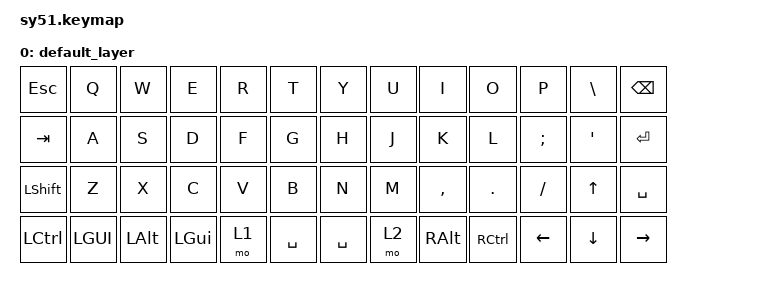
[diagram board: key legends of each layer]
#include <behaviors.dtsi>
#include <dt-bindings/zmk/keys.h>

/ {
    keymap {
        compatible = "zmk,keymap";

        default_layer {
// -----------------------------------------------------------------------------------------------------------------------------------
// |   ESC   |    Q    |    W    |    E    |    R    |    T    |    Y    |    U    |    I    |    O    |    P    |    \    |  BSPC   |
// |   TAB   |    A    |    S    |    D    |    F    |    G    |    H    |    J    |    K    |    L    |    ;    |    '    | RETURN  |
// |  SHIFT  |    Z    |    X    |    C    |    V    |    B    |    N    |    M    |    ,    |    .    |    /    |   UP    |         |
//                               |   GUI   |   DEL   | RETURN  |   TAB   |   BSPC  |  R ALT  |         |  LEFT   |  DOWN   |  RIGHT  |
            bindings = <
    &kp ESC    &kp Q    &kp W    &kp E     &kp R     &kp T      &kp Y     &kp U     &kp I     &kp O     &kp P     &kp BSLH  &kp BSPC
    &kp TAB    &kp A    &kp S    &kp D     &kp F     &kp G      &kp H     &kp J     &kp K     &kp L     &kp SEMI  &kp SQT   &kp RET
    &kp LSHIFT &kp Z    &kp X    &kp C     &kp V     &kp B      &kp N     &kp M     &kp COMMA &kp DOT   &kp FSLH  &kp UP    &kp SPACE
    &kp LCTRL  &LGUI    &kp LALT &kp LGUI  &mo 1     &kp SPACE  &kp SPACE &mo 2     &kp RALT  &kp RCTRL &kp LEFT  &kp DOWN  &kp RIGHT
            >;

        raise_layer {
// -----------------------------------------------------------------------------------------------------------------------------------
// |   ESC   |    1    |    2    |    3    |    4    |    5    |    6    |    7    |    8    |    9    |    0    |    -    |    +    |
// |   TAB   |   F1    |   F2    |   F3    |   F4    |   F5    |   F6    |   F7    |   F8    |   F9    |   F10   |   F11   |   F12   |
// |  SHIFT  |         |         |         |         |         |         |         |         |         |         |         |         |
//                               |   GUI   |   DEL   | RETURN  |   TAB   |   BSPC  |  R ALT  |         |  LEFT   |  DOWN   |  RIGHT  |
            bindings = <
    &kp ESC    &kp Q    &kp W    &kp E     &kp R     &kp T      &kp Y     &kp U     &kp I     &kp O     &kp P     &kp BSLH  &kp BSPC
    &kp TAB    &kp A    &kp S    &kp D     &kp F     &kp G      &kp H     &kp J     &kp K     &kp L     &kp SEMI  &kp SQT   &kp RET
    &kp LSHIFT &kp Z    &kp X    &kp C     &kp V     &kp B      &kp N     &kp M     &kp COMMA &kp DOT   &kp FSLH  &kp UP    &kp SPACE
    &kp LCTRL  &LGUI    &kp LALT &kp LGUI  &mo 1     &kp SPACE  &kp SPACE &mo 2     &kp RALT  &kp RCTRL &kp LEFT  &kp DOWN  &kp RIGHT
            >;

        lower_layer {
// -----------------------------------------------------------------------------------------------------------------------------------
// |   ESC   |    Q    |    W    |    E    |    R    |    T    |    Y    |    U    |    I    |    O    |    P    |    \    |  BSPC   |
// |   TAB   |    A    |    S    |    D    |    F    |    G    |    H    |    J    |    K    |    L    |    ;    |    '    | RETURN  |
// |  SHIFT  |    Z    |    X    |    C    |    V    |    B    |    N    |    M    |    ,    |    .    |    /    |   UP    |         |
//                               |   GUI   |   DEL   | RETURN  |   TAB   |   BSPC  |  R ALT  |         |  LEFT   |  DOWN   |  RIGHT  |
            bindings = <
    &kp ESC    &kp Q    &kp W    &kp E     &kp R     &kp T      &kp Y     &kp U     &kp I     &kp O     &kp P     &kp BSLH  &kp BSPC
    &kp TAB    &kp A    &kp S    &kp D     &kp F     &kp G      &kp H     &kp J     &kp K     &kp L     &kp SEMI  &kp SQT   &kp RET
    &kp LSHIFT &kp Z    &kp X    &kp C     &kp V     &kp B      &kp N     &kp M     &kp COMMA &kp DOT   &kp FSLH  &kp UP    &kp SPACE
    &kp LCTRL  &LGUI    &kp LALT &kp LGUI  &mo 1     &kp SPACE  &kp SPACE &mo 2     &kp RALT  &kp RCTRL &kp LEFT  &kp DOWN  &kp RIGHT
            >;

        };
    };
};
